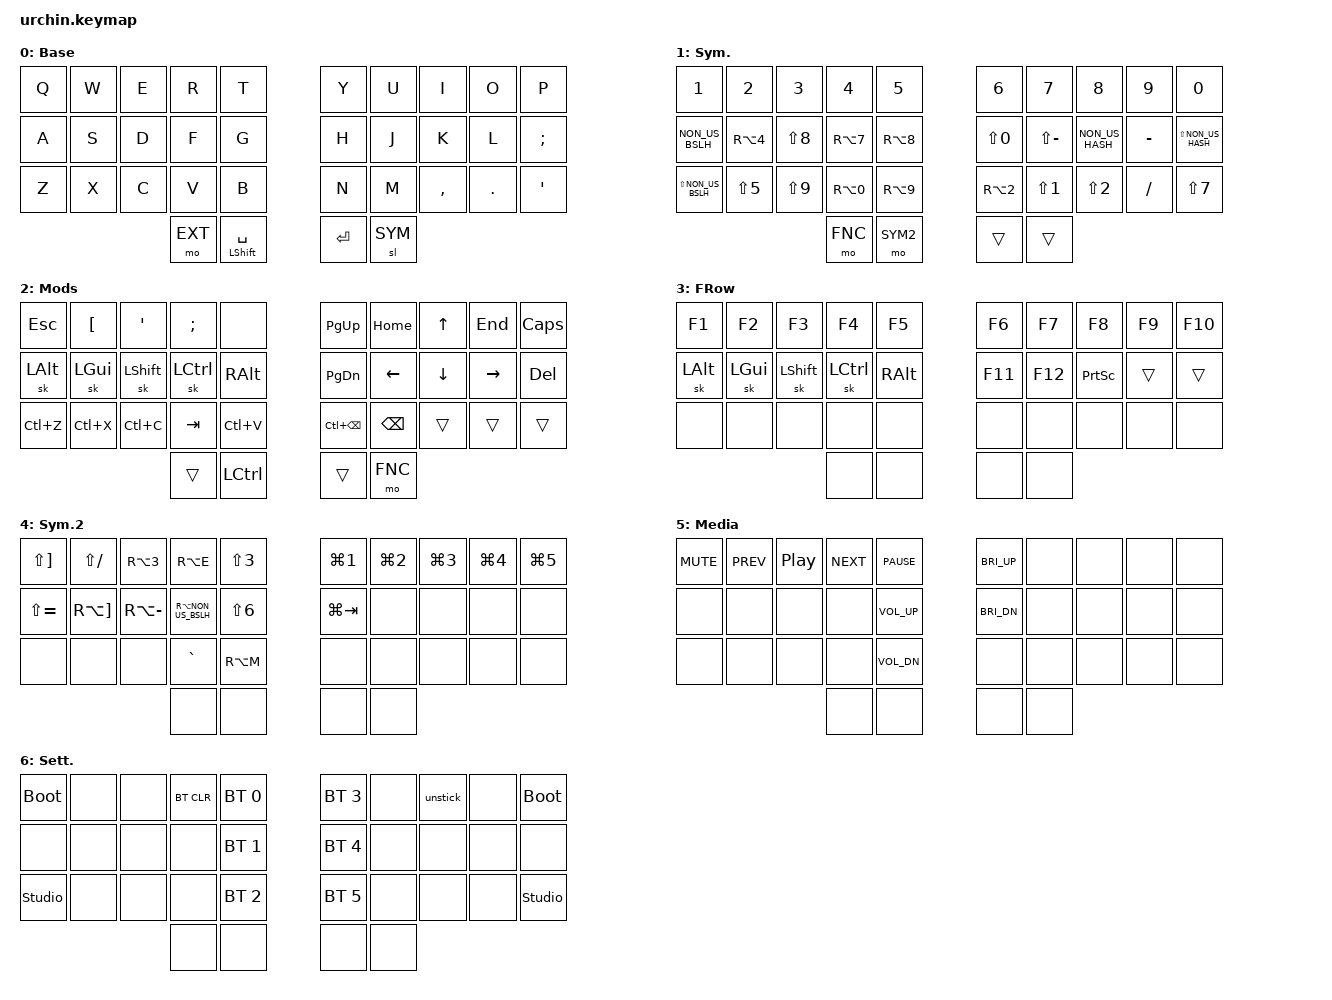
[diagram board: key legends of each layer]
/*
 * Copyright (c) 2025 010011010100000101010011
 * Finnish layout for Urchin keyboard. Forked from the original Italian layout by duckyb.
 *
 * SPDX-License-Identifier: MIT
 */

#include <behaviors.dtsi>
#include <dt-bindings/zmk/keys.h>
#include <dt-bindings/zmk/bt.h>
#include <dt-bindings/zmk/outputs.h>

// Layer definitions
#define BASE 0
#define SYM 1
#define EXT 2
#define FNC 3
#define SYM2 4
#define MEDIA 5
#define SETTINGS 6
// -----------------

&sk {
	// don't release mods on other mods presses
	ignore-modifiers;
};


/ {
	behaviors {
		// Enables holding the first mod-tap key
		// by performing a tap-release-hold sequence.
		// To use it: "&qt KEYCODE1 KEYCODE2"
		qt: quick_tap {
			compatible = "zmk,behavior-hold-tap";
			label = "QUICK_TAP";
			#binding-cells = <2>;
			flavor = "tap-preferred";
			tapping-term-ms = <250>;
			quick-tap-ms = <250>;
			bindings = <&kp>, <&kp>;
		};
	};

	macros {
		// kept because duckyb's device sometimes thinks a modifier is being held down
		// pressing all modifiers fixes it in case it happens to us.
		unstick: unstick {
			label = "ZM_unstick";
			compatible = "zmk,behavior-macro";
			#binding-cells = <0>;
			bindings = <&kp LSHIFT &kp RSHIFT &kp LCTRL &kp RCTRL &kp LALT &kp RALT &kp LGUI &kp RGUI>;
		};
	};

	combos {
		compatible = "zmk,combos";
		// both right thumb keys
		combo_media {
			timeout-ms = <200>;
			key-positions = <32 33>;
			bindings = <&mo MEDIA>;
		};
		// internal-left & external-right thumb keys
		combo_sym2 {
			timeout-ms = <200>;
			key-positions = <31 33>;
			bindings = <&mo SYM2>;
		};
		// both left thumb keys
		combo_settings {
			timeout-ms = <200>;
			key-positions = <30 31>;
			bindings = <&mo SETTINGS>;
		};
		// left index & middle fingers (home-row)
		// testing space as a homerow combo
		combo_ctrl_space {
			timeout-ms = <200>;
			key-positions = <12 13>;
			bindings = <&kp SPACE>;
			layers = <BASE>;
		};
	};

	keymap {
		compatible = "zmk,keymap";
		// Base alpha layer
		default_layer {
			label = "Base";
			bindings = <
			//╭─────────┬─────────┬─────────┬─────────┬─────────╮   ╭─────────┬─────────┬─────────┬─────────┬─────────╮
        		//│    Q    │    W    │    E    │    R    │    T    │   │    Y    │    U    │    I    │    O    │    P    │
			     &kp Q     &kp W     &kp E     &kp R     &kp T         &kp Y     &kp U     &kp I     &kp O     &kp P
			//├─────────┼─────────┼─────────┼─────────┼─────────┤   ├─────────┼─────────┼─────────┼─────────┼─────────┤
       			//│    A    │    S    │    D    │    F    │    G    │   │    H    │    J    │    K    │    L    │    Ä    │
			     &kp A     &kp S     &kp D     &kp F     &kp G         &kp H     &kp J     &kp K     &kp L    &kp SEMI
			//├─────────┼─────────┼─────────┼─────────┼─────────┤   ├─────────┼─────────┼─────────┼─────────┼─────────┤
        		//│    Z    │    X    │    C    │    V    │    B    │   │    N    │    M    │   , <   │   . >   │    Ö    │
			     &kp Z     &kp X     &kp C     &kp V     &kp B         &kp N     &kp M   &kp COMMA  &kp DOT  &kp SQT
			//╰─────────┴─────────┴───┼────────┼────────────────┤   ├──────────┼────────┼─────────┴─────────┴─────────╯
                                            	   &mo EXT  &qt LSHIFT SPACE     &kp ENTER   &sl SYM
        		//                        ╰────────┴────────────────╯   ╰──────────┴────────╯
			>;
		};

		// Numbers and high frequency symbols
		sym_layer {
			label = "Sym.";
			bindings = <
			//╭─────────┬─────────┬─────────┬─────────┬─────────╮   ╭─────────┬─────────┬─────────┬─────────┬─────────╮
        		//│    1    │    2    │    3    │    4    │    5    │   │    6    │    7    │    8    │    9    │    0    │
			    &kp N1     &kp N2    &kp N3    &kp N4    &kp N5	   &kp N6    &kp N7    &kp N8    &kp N9    &kp N0
			//├─────────┼─────────┼─────────┼─────────┼─────────┤   ├─────────┼─────────┼─────────┼─────────┼─────────┤
       			//│    <    │    $    │    (    │    {    │    [    │   │    =    │    ?    │    '    │    -    │    *    │
			    &kp NON_US_BSLH  &kp RA(N4)   &kp LS(N8) &kp RA(N7)   &kp RA(N8)  &kp LS(N0) &kp LS(MINUS) &kp NON_US_HASH &kp MINUS &kp LS(NON_US_HASH)
			//├─────────┼─────────┼─────────┼─────────┼─────────┤   ├─────────┼─────────┼─────────┼─────────┼─────────┤
       			//│    >    │    %    │    )    │    }    │    ]    │   │    @    │    !    │    "    │    +    │    /    │
			&kp LS(NON_US_BSLH) &kp LS(N5)   &kp LS(N9)  &kp RA(N0)   &kp RA(N9) &kp RA(N2) &kp LS(N1) &kp LS(N2) &kp FSLH &kp LS(N7)
			//╰─────────┴─────────┴───┼────────┼────────────────┤   ├──────────┼────────┼─────────┴─────────┴─────────╯
						    &mo FNC     &mo SYM2           &trans    &trans
			//                        ╰────────┴────────────────╯   ╰──────────┴────────╯
			>;
		};

		// Main modifiers and arrow keys
		ext_layer {
			label = "Mods";
			bindings = <
			//╭─────────┬──────────┬──────────┬──────────┬─────────╮   ╭──────────┬──────────┬──────────┬──────────┬──────────╮
        		//│   ESC   │    Å     │     Ä    │     Ö    │         │   │  PageUp  │   Home   │  UpArrow │    End   │ Capslock │
			    &kp ESC  &kp LBKT    &kp APOS   &kp SEMI    &none        &kp PG_UP  &kp HOME    &kp UP     &kp END   &kp CAPS
			//├─────────┼──────────┼──────────┼──────────┼─────────┤   ├──────────┼──────────┼──────────┼──────────┼──────────┤
       			//│ LeftAlt │Left Meta │LeftShift │ LeftCtrl │ RightAlt│   │ PageDown │LeftArrow │ DownArrow│RightArrow│    Del   │
			    &sk LALT  &sk LGUI  &sk LSHIFT &sk LCTRL  &kp RALT 	    &kp PG_DN   &kp LEFT   &kp DOWN   &kp RIGHT   &kp DEL
			//├─────────┼──────────┼──────────┼──────────┼─────────┤   ├──────────┼──────────┼──────────┼──────────┼──────────┤
       			//│   Undo  │    Cut   │   Copy   │   TAB    │  Paste  │   │ DelWord  │ Backspace│          │          │          │
			   &kp LC(Z)  &kp LC(X)  &kp LC(C)  &kp TAB   &kp LC(V)    &kp LC(BSPC) &kp BSPC    &trans     &trans     &trans
			//╰──────────┴───────────┴───────┼──────────┼──────────┤   ├───────────┼─────────┼──────────┴──────────┴──────────╯
							    &trans    &kp LCTRL      &trans     &mo FNC 
			//                               ╰──────────┴──────────╯   ╰───────────┴─────────╯
			>;
		};

		// Function keys with modifiers
		fnc_layer {
			label = "FRow";
			bindings = <
			//╭─────────┬─────────┬─────────┬─────────┬─────────╮   ╭─────────┬─────────┬─────────┬─────────┬─────────╮
        		//│    F1   │    F2   │    F3   │   F4    │    F5   │   │    F6   │    F7   │    F8   │    F9   │   F10   │
			     &kp F1    &kp F2    &kp F3    &kp F4    &kp F5       &kp F6     &kp F7    &kp F8   &kp F9    &kp F10 
			//├─────────┼─────────┼─────────┼─────────┼─────────┤   ├─────────┼─────────┼─────────┼─────────┼─────────┤
       			//│ LeftAlt │Left Meta│LeftShift│ LeftCtrl│ RightAlt│   │   F11   │   F12   │PrintScrn│         │         │
			   &sk LALT   &sk LGUI &sk LSHIFT &sk LCTRL &kp RALT     &kp F11 &kp F12  &kp PRINTSCREEN &trans   &trans
			//├─────────┼─────────┼─────────┼─────────┼─────────┤   ├─────────┼─────────┼─────────┼─────────┼─────────┤
       			//│         │         │         │         │         │   │         │         │         │         │         │
			     &none     &none     &none     &none     &none	   &none     &none     &none     &none     &none 
			//╰─────────┴─────────┴─────────┼─────────┼─────────┤   ├──────────┼────────┼─────────┴─────────┴─────────╯
						           &none     &none         &none     &none 
			//                              ╰─────────┴─────────╯   ╰──────────┴────────╯
			>;
		};

		// Low frequency symbols.
		symbols_2_layer {
			label = "Sym.2";
			bindings = <
			//╭─────────┬─────────┬─────────┬─────────┬─────────╮   ╭─────────┬─────────┬─────────┬─────────┬─────────╮
        		//│    ^    │    _    │    £    │    €    │    #    │   │   Super+1  │   Super+2  │   Super+3  │   Super+4  │   Super+5  │
			&kp LS(RBKT) &kp LS(FSLH) &kp RA(N3) &kp RA(E) &kp LS(N3) &kp LG(N1) &kp LG(N2) &kp LG(N3) &kp LG(N4) &kp LG(N5)
			//├─────────┼─────────┼─────────┼─────────┼─────────┤   ├─────────┼─────────┼─────────┼─────────┼─────────┤
        		//│    `    │    ~    │Backslash│    |    │    &    │   │   Super+TAB  │         │         │         │         │
			&kp LS(EQUAL) &kp RA(RBKT) &kp RA(MINUS) &kp RA(NON_US_BSLH) &kp LS(N6)  &kp LG(TAB) &none &none &none &none
			//├─────────┼─────────┼─────────┼─────────┼─────────┤   ├─────────┼─────────┼─────────┼─────────┼─────────┤
       			//│         │         │         │    §    │    µ    │   │         │         │         │         │         │
			     &none     &none     &none  &kp GRAVE  &kp RA(M)       &none     &none     &none     &none     &none
			//╰─────────┴─────────┴─────────┼─────────┼─────────┤   ├──────────┼────────┼─────────┴─────────┴─────────╯
						           &none     &none         &none     &none 
			//                              ╰─────────┴─────────╯   ╰──────────┴────────╯
			>;
		};

		// Used to control media players.
		media_layer {
			label = "Media";
			bindings = <
			//╭─────────┬─────────┬──────────┬─────────┬─────────╮   ╭─────────┬─────────┬─────────┬─────────┬─────────╮
        		//│  MUTE   │Previous │Play/Pause│  Next   │  Pause  │   │ BRIGHT+ │         │         │         │         │
			  &kp C_MUTE &kp C_PREV &kp C_PP &kp C_NEXT &kp C_PAUSE &kp C_BRI_UP     &none     &none     &none     &none 
			//├─────────┼─────────┼──────────┼─────────┼─────────┤   ├─────────┼─────────┼─────────┼─────────┼─────────┤
       			//│         │         │          │         │   VOL+  │   │ BRIGHT- │         │         │         │         │
			     &none     &none     &none      &none  &kp C_VOL_UP  &kp C_BRI_DN     &none     &none     &none     &none
			//├─────────┼─────────┼──────────┼─────────┼─────────┤   ├─────────┼─────────┼─────────┼─────────┼─────────┤
       			//│         │         │          │         │   VOL-  │   │         │         │         │         │         │
			     &none     &none     &none      &none &kp C_VOL_DN    &none     &none     &none     &none     &none
			//╰─────────┴─────────┴──────────┼─────────┼─────────┤   ├──────────┼────────┼─────────┴─────────┴─────────╯
						           &none     &none         &none     &none 
			//                              ╰─────────┴─────────╯   ╰──────────┴────────╯
			>;
		};

		// Used to change the keyboard's settings.
		settings_layer {
			label = "Sett.";
			bindings = <
			//╭──────────┬──────────┬──────────┬──────────┬──────────╮   ╭──────────┬──────────┬──────────┬──────────┬──────────╮
        		//│BOOTLOADER│          │          │ CLEAR BT │PROFILE 0 │   │PROFILE 3 │          │ Unstick  │          │BOOTLOADER│
			   &bootloader   &none      &none   &bt BT_CLR &bt BT_SEL 0   &bt BT_SEL 3  &none    &unstick    &none    &bootloader 
			//├──────────┼──────────┼──────────┼──────────┼──────────┤   ├──────────┼──────────┼──────────┼──────────┼──────────┤
        		//│          │          │          │          │PROFILE 1 │   │PROFILE 4 │          │          │          │          │
			     &none      &none      &none      &none  &bt BT_SEL 1    &bt BT_SEL 4  &none      &none      &none     &none
			//├──────────┼──────────┼──────────┼──────────┼──────────┤   ├──────────┼──────────┼──────────┼──────────┼──────────┤
       			//│ ZMKStudio│          │          │          │PROFILE 2 │   │PROFILE 5 │          │          │          │ZMKStudio │
			 &studio_unlock  &none      &none      &none  &bt BT_SEL 2    &bt BT_SEL 5  &none      &none      &none  &studio_unlock
			//╰──────────┴──────────┴──────────┼──────────┼──────────┤   ├──────────┼──────────┼──────────┴──────────┴──────────╯
							       &none      &none         &none       &none 
			//                                 ╰──────────┴──────────╯   ╰──────────┴──────────╯
			>;
		};
	};
};
